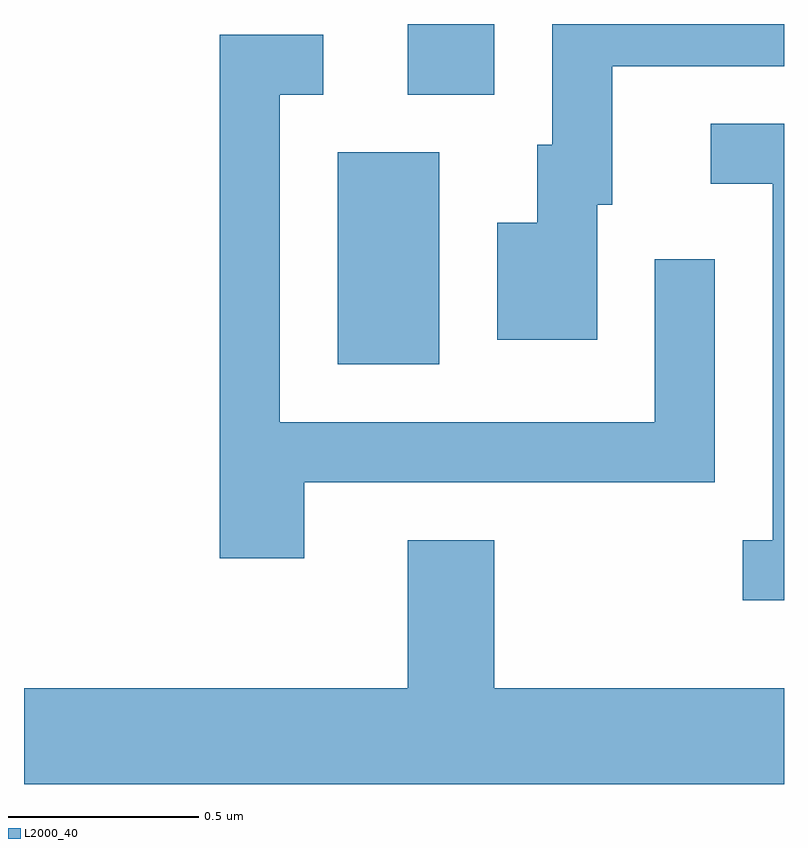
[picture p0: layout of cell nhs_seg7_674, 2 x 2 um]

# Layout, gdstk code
import gdstk
lib = gdstk.Library(unit=1e-6, precision=1e-09)
def R(c, l, rs):  # rectangles x0, y0, x1, y1
    for r in rs: c.add(gdstk.rectangle(r[:2], r[2:], *l))
def P(c, l, *ps):  # polygons
    for p in ps: c.add(gdstk.Polygon(p, *l))
L2000_40 = (2000, 40)

nhs_seg7_674 = lib.new_cell('nhs_seg7_674')
R(nhs_seg7_674, L2000_40, [(190.436,1795.356,190.704,1795.914), (190.621,1796.066,190.849,1796.252)])
P(nhs_seg7_674, L2000_40, [(191.119,1795.776),(191.159,1795.776),(191.159,1796.141),(191.611,1796.141),(191.611,1796.252),(191.001,1796.252),(191.001,1795.934),(190.961,1795.934),(190.961,1795.729),(190.856,1795.729),(190.856,1795.421),(191.119,1795.421)],
  [(190.349,1795.046),(191.429,1795.046),(191.429,1795.633),(191.271,1795.633),(191.271,1795.204),(190.284,1795.204),(190.284,1796.066),(190.398,1796.066),(190.398,1796.224),(190.126,1796.224),(190.126,1794.846),(190.349,1794.846)],
  [(191.611,1795.989),(191.418,1795.989),(191.418,1795.831),(191.581,1795.831),(191.581,1794.894),(191.503,1794.894),(191.503,1794.736),(191.611,1794.736)],
  [(191.611,1794.504),(190.849,1794.504),(190.849,1794.894),(190.621,1794.894),(190.621,1794.504),(189.611,1794.504),(189.611,1794.252),(191.611,1794.252)])

lib.write_gds('nhs_seg7_674.gds')
